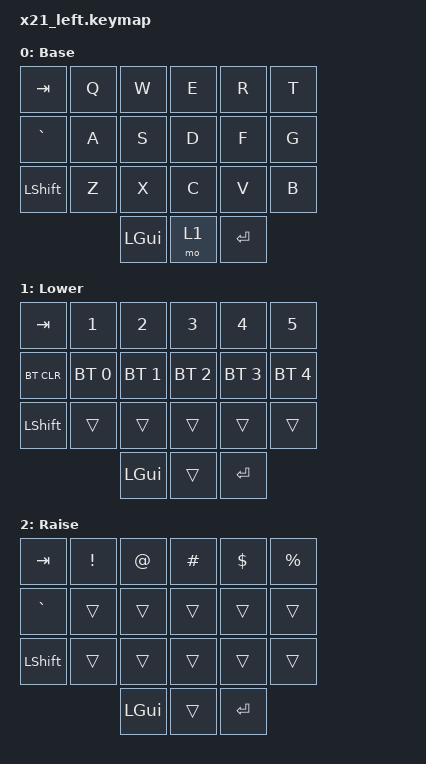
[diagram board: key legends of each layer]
#include <behaviors.dtsi>
#include <dt-bindings/zmk/keys.h>
#include <dt-bindings/zmk/bt.h>

/ {
    keymap {
        compatible = "zmk,keymap";

        base_layer {
            display-name = "Base";
            bindings = <
                &kp TAB     &kp Q       &kp W       &kp E       &kp R       &kp T
                &kp GRAVE   &kp A       &kp S       &kp D       &kp F       &kp G
                &kp LSHIFT  &kp Z       &kp X       &kp C       &kp V       &kp B
                                         &kp LGUI    &mo 1       &kp ENTER
            >;
        };

        lower_layer {
            display-name = "Lower";
            bindings = <
                &kp TAB     &kp N1       &kp N2       &kp N3       &kp N4       &kp N5
                &bt BT_CLR  &bt BT_SEL 0 &bt BT_SEL 1 &bt BT_SEL 2 &bt BT_SEL 3 &bt BT_SEL 4
                &kp LSHIFT  &trans       &trans       &trans       &trans       &trans
                                          &kp LGUI     &trans       &kp ENTER
            >;
        };

        raise_layer {
            display-name = "Raise";
            bindings = <
                &kp TAB     &kp EXCL    &kp AT      &kp HASH    &kp DLLR    &kp PRCNT
                &kp GRAVE   &trans      &trans      &trans      &trans      &trans
                &kp LSHIFT  &trans      &trans      &trans      &trans      &trans
                                         &kp LGUI    &trans      &kp ENTER
            >;
        };
    };
};
